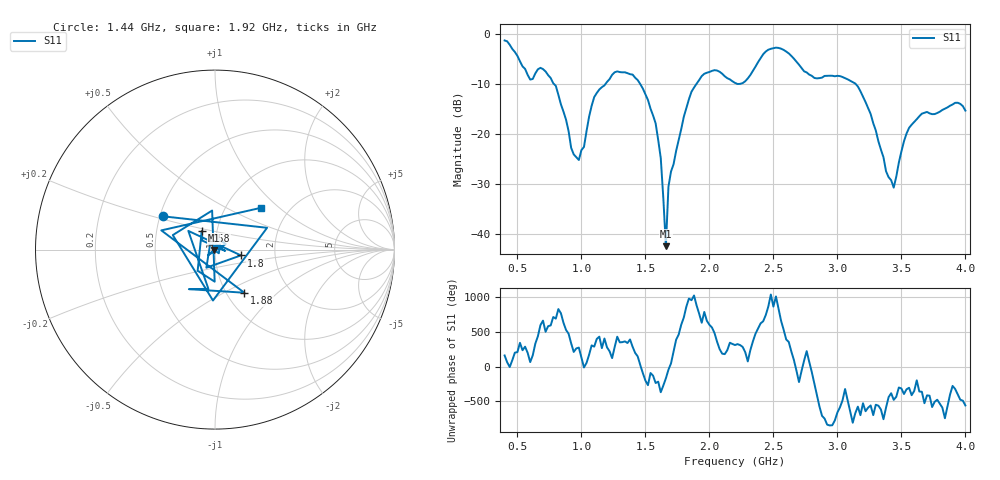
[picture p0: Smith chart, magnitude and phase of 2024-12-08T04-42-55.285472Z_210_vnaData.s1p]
!Created with skrf (http://scikit-rf.org).
# Hz S RI R 50.0
!freq ReS11 ImS11
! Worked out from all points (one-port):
!   181 points, 400 MHz to 4 GHz, reference 50 ohm
!   lowest |S11| = -42.5 dB at 1.66 GHz (marker M1), VSWR 1.02, Z = 49.3 - j0.161 ohm
!   |S11| at or under -10 dB: 784.7 MHz to 1.189 GHz (403.9 MHz wide, 40.9 % of centre); 1.459 GHz to 1.899 GHz (440.1 MHz wide, 26.2 % of centre); 3.142 GHz to end of sweep (the widest 3 of 4)
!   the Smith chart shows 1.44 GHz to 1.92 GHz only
!   S11 on the Smith chart (normalised r, x): 1.44 GHz: 0.52, +0.22; 1.58 GHz: 0.85, +0.18; 1.8 GHz: 1.33, -0.09; 1.88 GHz: 1.21, -0.63; 1.92 GHz: 1.45, +0.76
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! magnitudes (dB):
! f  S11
! 400 MHz  -1.3
! 600 MHz  -9.1
! 720 MHz  -7.5
! 860 MHz  -15.6
! 920 MHz  -22.8
! 980 MHz  -25.3
! 1.1 GHz  -12.6
! 1.3 GHz  -7.6
! 1.44 GHz  -9.2
! 1.58 GHz  -17.9
! 1.62 GHz  -24.9
! 1.66 GHz  -42.5
! 1.68 GHz  -30.6
! 1.76 GHz  -21.2
! 1.8 GHz  -16.6
! 1.88 GHz  -10.7
! 1.92 GHz  -9.2
! 2.04 GHz  -7.2
! 2.2 GHz  -9.8
! 2.46 GHz  -3.2
! 2.66 GHz  -4.9
! 2.82 GHz  -8.8
! 3.1 GHz  -9.4
! 3.26 GHz  -16.0
! 3.44 GHz  -30.8
! 3.56 GHz  -18.8
! 3.92 GHz  -13.8
! 4 GHz  -15.4
